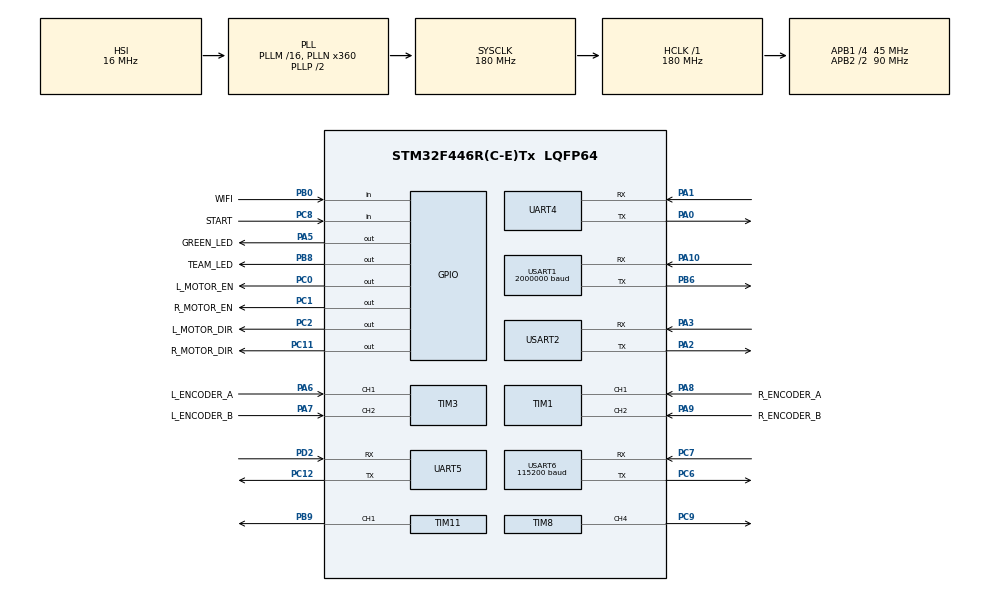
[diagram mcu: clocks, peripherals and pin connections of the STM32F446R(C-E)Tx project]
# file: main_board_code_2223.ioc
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Dma.Request0=UART4_RX
Dma.UART4_RX.0.Direction=DMA_PERIPH_TO_MEMORY
Dma.UART4_RX.0.FIFOMode=DMA_FIFOMODE_DISABLE
Dma.UART4_RX.0.Instance=DMA1_Stream2
Dma.UART4_RX.0.MemDataAlignment=DMA_MDATAALIGN_BYTE
Dma.UART4_RX.0.MemInc=DMA_MINC_ENABLE
Dma.UART4_RX.0.Mode=DMA_NORMAL
Dma.UART4_RX.0.PeriphDataAlignment=DMA_PDATAALIGN_BYTE
Dma.UART4_RX.0.PeriphInc=DMA_PINC_DISABLE
Dma.UART4_RX.0.Priority=DMA_PRIORITY_LOW
Mcu.Family=STM32F4
Mcu.Name=STM32F446R(C-E)Tx
Mcu.Package=LQFP64
NVIC.DMA1_Stream2_IRQn=true\:0\:0\:false\:false\:true\:false\:true\:true
NVIC.PriorityGroup=NVIC_PRIORITYGROUP_4
NVIC.TIM2_IRQn=true\:0\:0\:false\:false\:true\:true\:true\:true
NVIC.TIM4_IRQn=true\:0\:0\:false\:false\:true\:true\:true\:true
NVIC.TIM5_IRQn=true\:0\:0\:false\:false\:true\:true\:true\:true
NVIC.TIM6_DAC_IRQn=true\:0\:0\:false\:false\:true\:true\:true\:true
NVIC.TIM7_IRQn=true\:2\:0\:true\:false\:true\:true\:true\:true
NVIC.UART4_IRQn=true\:0\:0\:false\:false\:true\:true\:true\:true
NVIC.UART5_IRQn=true\:0\:0\:false\:false\:true\:true\:true\:true
NVIC.USART1_IRQn=true\:0\:0\:false\:false\:true\:true\:true\:true
NVIC.USART6_IRQn=true\:0\:0\:false\:false\:true\:true\:true\:true
PA0-WKUP.Mode=Asynchronous
PA0-WKUP.Signal=UART4_TX
PA1.Mode=Asynchronous
PA1.Signal=UART4_RX
PA10.Mode=Asynchronous
PA10.Signal=USART1_RX
PA2.Mode=Asynchronous
PA2.Signal=USART2_TX
PA3.Mode=Asynchronous
PA3.Signal=USART2_RX
PA5.GPIO_Label=GREEN_LED
PA5.Signal=GPIO_Output
PA6.GPIO_Label=L_ENCODER_A
PA6.Signal=S_TIM3_CH1
PA7.GPIO_Label=L_ENCODER_B
PA7.Signal=S_TIM3_CH2
PA8.GPIO_Label=R_ENCODER_A
PA8.Signal=S_TIM1_CH1
PA9.GPIO_Label=R_ENCODER_B
PA9.Signal=S_TIM1_CH2
PB0.GPIO_Label=WIFI
PB0.Signal=GPIO_Input
PB6.Mode=Asynchronous
PB6.Signal=USART1_TX
PB8.GPIO_Label=TEAM_LED
PB8.Signal=GPIO_Output
PB9.Signal=S_TIM11_CH1
PC0.GPIO_Label=L_MOTOR_EN
PC0.Signal=GPIO_Output
PC1.GPIO_Label=R_MOTOR_EN
PC1.Signal=GPIO_Output
PC11.GPIO_Label=R_MOTOR_DIR
PC11.Signal=GPIO_Output
PC12.Mode=Asynchronous
PC12.Signal=UART5_TX
PC2.GPIO_Label=L_MOTOR_DIR
PC2.Signal=GPIO_Output
PC6.Mode=Asynchronous
PC6.Signal=USART6_TX
PC7.Mode=Asynchronous
PC7.Signal=USART6_RX
PC8.GPIO_Label=START
PC8.GPIO_PuPd=GPIO_PULLDOWN
PC8.Signal=GPIO_Input
PC9.Signal=S_TIM8_CH4
PD2.Mode=Asynchronous
PD2.Signal=UART5_RX
ProjectManager.HeapSize=0x200
ProjectManager.StackSize=0x400
ProjectManager.TargetToolchain=STM32CubeIDE
RCC.48MHZClocksFreq_Value=84000000
RCC.AHBFreq_Value=180000000
RCC.APB1CLKDivider=RCC_HCLK_DIV4
RCC.APB1Freq_Value=45000000
RCC.APB1TimFreq_Value=90000000
RCC.APB2CLKDivider=RCC_HCLK_DIV2
RCC.APB2Freq_Value=90000000
RCC.APB2TimFreq_Value=180000000
RCC.CortexFreq_Value=180000000
RCC.FLatency-AdvancedSettings=FLASH_LATENCY_5
RCC.HCLKFreq_Value=180000000
RCC.HSE_VALUE=8000000
RCC.HSI_VALUE=16000000
RCC.PLLN=360
RCC.SYSCLKFreq_VALUE=180000000
RCC.SYSCLKSource=RCC_SYSCLKSOURCE_PLLCLK
RCC.USBFreq_Value=180000000
RCC.VCOOutputFreq_Value=360000000
SH.S_TIM11_CH1.0=TIM11_CH1,PWM Generation1 CH1
SH.S_TIM1_CH1.0=TIM1_CH1,Encoder_Interface
SH.S_TIM1_CH2.0=TIM1_CH2,Encoder_Interface
SH.S_TIM3_CH1.0=TIM3_CH1,Encoder_Interface
SH.S_TIM3_CH2.0=TIM3_CH2,Encoder_Interface
SH.S_TIM8_CH4.0=TIM8_CH4,PWM Generation4 CH4
TIM1.CounterMode=TIM_COUNTERMODE_UP
TIM1.EncoderMode=TIM_ENCODERMODE_TI12
TIM1.IC1Filter=10
TIM11.Channel=TIM_CHANNEL_1
TIM11.Period=1000
TIM11.Prescaler=179
TIM2.Period=999
TIM2.Prescaler=2686
TIM3.AutoReloadPreload=TIM_AUTORELOAD_PRELOAD_ENABLE
TIM3.CounterMode=TIM_COUNTERMODE_UP
TIM3.EncoderMode=TIM_ENCODERMODE_TI12
TIM4.Period=90
TIM4.Prescaler=1
TIM5.Period=90000
TIM5.Prescaler=9
TIM6.Period=99
TIM6.Prescaler=8999
TIM7.AutoReloadPreload=TIM_AUTORELOAD_PRELOAD_DISABLE
TIM7.Period=9999
TIM7.Prescaler=8999
TIM8.AutoReloadPreload=TIM_AUTORELOAD_PRELOAD_DISABLE
TIM8.Channel-PWM\ Generation4\ CH4=TIM_CHANNEL_4
TIM8.Period=1000
TIM8.Prescaler=179
TIM8.Pulse-PWM\ Generation4\ CH4=500
UART4.VirtualMode=Asynchronous
UART5.VirtualMode=Asynchronous
USART1.BaudRate=2000000
USART1.VirtualMode=VM_ASYNC
USART2.VirtualMode=VM_ASYNC
USART6.BaudRate=115200
USART6.Parity=PARITY_NONE
USART6.VirtualMode=VM_ASYNC
VP_TIM11_VS_ClockSourceINT.Mode=Enable_Timer
VP_TIM2_VS_ClockSourceINT.Mode=Internal
VP_TIM4_VS_ClockSourceINT.Mode=Internal
VP_TIM5_VS_ClockSourceINT.Mode=Internal
VP_TIM6_VS_ClockSourceINT.Mode=Enable_Timer
VP_TIM7_VS_ClockSourceINT.Mode=Enable_Timer
VP_TIM8_VS_ClockSourceINT.Mode=Internal
board=NUCLEO-F446RE

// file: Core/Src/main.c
/* USER CODE BEGIN Header */
/**
  ******************************************************************************
  * @file           : main.c
  * @brief          : Main program body
  ******************************************************************************
  * @attention
  *
  * <h2><center>&copy; Copyright (c) 2021 STMicroelectronics.
  * All rights reserved.</center></h2>
  *
  * This software component is licensed by ST under BSD 3-Clause license,
  * the "License"; You may not use this file except in compliance with the
  * License. You may obtain a copy of the License at:
  *                        opensource.org/licenses/BSD-3-Clause
  *
  ******************************************************************************
  */
/* USER CODE END Header */
#include "main.h"
#include "dma.h"
#include "tim.h"
#include "usart.h"
#include "gpio.h"

/* USER CODE BEGIN Includes */
#include "config.h"
#include "propulsion.h"
#include "odometry.h"
#include "robot.h"
#include "bezier.h"
#include "strategy.h"
#include "serial.h"
#include "lidar.h"
#include "avoidance.h"
#include "symetry.h"
#include "control.h"
#include <stdio.h>
#include <math.h>

extern Robot robot;
/* USER CODE END Includes */

void SystemClock_Config(void);

/* USER CODE BEGIN 0 */

int _write(int file, char *ptr, int len) {
	int DataIdx;

	for (DataIdx = 0; DataIdx < len; DataIdx++) {
		HAL_UART_Transmit(&huart2, (uint8_t *) ptr++, 1, HAL_MAX_DELAY);
	}
	return len;
}

/* USER CODE END 0 */

int main(void)
{

  /* MCU Configuration--------------------------------------------------------*/

  /* Reset of all peripherals, Initializes the Flash interface and the Systick. */
  HAL_Init();

  /* Configure the system clock */
  SystemClock_Config();

  /* Initialize all configured peripherals */
  MX_GPIO_Init();
  MX_DMA_Init();
  MX_TIM1_Init();
  MX_TIM8_Init();
  MX_TIM11_Init();
  MX_TIM3_Init();
  MX_TIM7_Init();
  MX_TIM2_Init();
  MX_TIM6_Init();
  MX_TIM4_Init();
  MX_USART2_UART_Init();
  MX_TIM5_Init();
  MX_USART6_UART_Init();
  MX_UART4_Init();
  MX_UART5_Init();
  MX_USART1_UART_Init();
  /* USER CODE BEGIN 2 */
  HAL_TIM_Base_Start(&htim1);
  HAL_TIM_Base_Start(&htim3);
  HAL_TIM_Base_Start_IT(&htim5);

  HAL_UART_Receive_IT(&huart6, pData, 1);
  printf("Initializing propulsion system...");
  propulsion_initialize();
  propulsion_disableMotors();
  avoidance_initialize();
  HAL_Delay(200);
  printf(" Done.\r\n");

  //HAL_GPIO_TogglePin(GREEN_LED_GPIO_Port, GREEN_LED_Pin);
  //printf("Initializing strategy...");
  Strategy* strategy;
  int curveIndex = 0;
  int onSiteActionIndex = 0;
  int onMoveActionIndex = 0;

  robot.waitingForOnSiteAction = false;
  robot.waitingForOnMoveAction = false;
  robot.team = YELLOW;
  float t = 0;

  HAL_Delay(200);
  printf(" Done.\r\n");

  //HAL_GPIO_TogglePin(GREEN_LED_GPIO_Port, GREEN_LED_Pin);
  printf("Initializing lidar...");
  lidar_initialize();
  HAL_Delay(200);
  printf(" Done.\r\n");

  bool waitingForMatchStart = true;

  printf("Waiting for start...\r\n");
  pData[0] = 'o';
  int a = 0;
  while ((waitingForMatchStart == true)) {
  	  waitingForMatchStart = HAL_GPIO_ReadPin(START_GPIO_Port, START_Pin);
  	  if(wifiDataRX==0x84){
  		  waitingForMatchStart=0;
  		  strategy = strategy_initialize(7);
  		  //WifiUartTXActivation();
  	  }
  	  else if((pData[0] >= '0' && pData[0] <= '9')  && a == 0)
  	  {
  		  a = 1;
  	  	  switch(pData[0])
  	      	{
  	  	  	case '0':
  	  	  		printf("Initializing strategy...0");
  	  	  		strategy = strategy_initialize(0);
  	       	    break;
  	      	case '1':
  	      		printf("Initializing strategy...1");
  	      		strategy = strategy_initialize(1);
  	      		switchTeam(strategy);
  	            break;
  	      	case '2':
  	      		printf("Initializing strategy...2");
  	      		strategy = strategy_initialize(2);
  	      		break;
  	        case '3':
  	        	printf("Initializing strategy...3");
  	        	strategy = strategy_initialize(3);
  	        	switchTeam(strategy);
  	        	break;
  	        case '4':
  	        	printf("Initializing strategy...4");
  	        	strategy = strategy_initialize(4);
  	        	switchTeam(strategy);
  	        	break;
  	        case '5':
  	        	printf("Initializing strategy...5");
  	        	strategy = strategy_initialize(5);
  	            break;
  	        default:
  	            break;
  	      	}
  	  }
  }
  propulsion_enableMotors();

  printf("Initializing odometry...");
  Vector2 start = strategy->path[0]->p1;
  Vector2 startTangent = strategy->path[0]->p2;
  float startAngle = vector2_angle(vector2_diff(startTangent, start));
  odometry_setPosition(start.x, start.y);
  odometry_setAngle(startAngle);
  robot.measuredSpeed = 0;
  odometry_startKalman();
  HAL_Delay(200);
  printf(" Done.\r\n");

  printf("Go!\r\n");

  //odometry_setPosition(0, 0);
  //odometry_setAngle(0);

  HAL_UART_Receive_DMA(&huart4, &lidarBuf[0], 3);//HAL_UART_Receive_IT(&huart4, &lidarData, 1);
  HAL_UART_Receive_IT(&huart6, &armData, 1);
  /* USER CODE END 2 */

  /* Infinite loop */
  /* USER CODE BEGIN WHILE */

  /*while (1) {
	  for (int i=0; i<16; i++) {
		  printf("%d ", i);
		  printf("(%d) ", lidar_timeSinceData[i]);
	  }
	  printf("\r\n");

	  if (!lidar_frontIsClear()) {
		  printf("Front stop!\r\n");
	  }
	  if (!lidar_backIsClear()) {
		  printf("Back stop!\r\n");
	  }

	  HAL_Delay(100);
  }*/

  while (onSiteActionIndex < strategy->onSiteActionsLengths[0]) {
	  uint8_t action = strategy->onSiteActions[0][onSiteActionIndex];
	  serial_send(&action, 1, 6);
	  robot.waitingForOnSiteAction = true;

	  printf("Waiting for 0xFF...\r\n");
	  printf("%d\r\n", robot.waitingForOnSiteAction);
	  while (robot.waitingForOnSiteAction) {}
	  printf("%d\r\n", robot.waitingForOnSiteAction);
	  onSiteActionIndex++;
  }

  printf("About to move...\r\n");

  while (1) {
	  if (onMoveActionIndex < strategy->onMoveActionsLengths[curveIndex]
              && !robot.waitingForOnMoveAction
			  && !robot.waitingForOnSiteAction) {
		  uint8_t action = strategy->onMoveActions[curveIndex][onMoveActionIndex];
		  serial_send(&action, 1, 6);
		  robot.waitingForOnMoveAction = true;
	  }

	  avoidance_update(t, strategy->directions[curveIndex]);

	  if (avoidanceState == PATH_CLEAR && curveIndex < strategy->length) {
		  t = propulsion_followBezier(
				  strategy->path[curveIndex],
				  strategy->directions[curveIndex],
				  strategy->speeds[curveIndex],
				  strategy->speeds[curveIndex+1],
				  false
		  );
	  } else if (avoidanceState == PATH_OBSTRUCTED) {
		  propulsion_setSpeeds(0, 0, 0);
	  } else if (avoidanceState == BACKTRACKING) {
		  t = propulsion_followBezier(
				  strategy->path[curveIndex],
				  strategy->directions[curveIndex],
				  strategy->speeds[curveIndex],
				  strategy->speeds[curveIndex+1],
				  true
		  );
	  }

	  if (t > 0.99 && !robot.waitingForOnMoveAction) {
	      curveIndex = (curveIndex + 1);// % strategy->length;
	      onSiteActionIndex = 0;
	      while (onSiteActionIndex < strategy->onSiteActionsLengths[curveIndex]) {
	    	  uint8_t action = strategy->onSiteActions[curveIndex][onSiteActionIndex];
	    	  serial_send(&action, 1, 6);
	    	  robot.waitingForOnSiteAction = true;

	    	  while (robot.waitingForOnSiteAction) {
	    		  propulsion_setSpeeds(0, 0, 0);
	    	  }
	    	  onSiteActionIndex++;
	      }
	      onMoveActionIndex = 0;
	  }

	  if (curveIndex == strategy->length) {
		  break;
	  }

    /* USER CODE END WHILE */

    /* USER CODE BEGIN 3 */
  }

  propulsion_disableMotors();
  printf("Finished.\r\n");

  while (1) {

  }
  /* USER CODE END 3 */
}

void SystemClock_Config(void)
{
  RCC_OscInitTypeDef RCC_OscInitStruct = {0};
  RCC_ClkInitTypeDef RCC_ClkInitStruct = {0};

  /** Configure the main internal regulator output voltage
  */
  __HAL_RCC_PWR_CLK_ENABLE();
  __HAL_PWR_VOLTAGESCALING_CONFIG(PWR_REGULATOR_VOLTAGE_SCALE1);

  /** Initializes the RCC Oscillators according to the specified parameters
  * in the RCC_OscInitTypeDef structure.
  */
  RCC_OscInitStruct.OscillatorType = RCC_OSCILLATORTYPE_HSI;
  RCC_OscInitStruct.HSIState = RCC_HSI_ON;
  RCC_OscInitStruct.HSICalibrationValue = RCC_HSICALIBRATION_DEFAULT;
  RCC_OscInitStruct.PLL.PLLState = RCC_PLL_ON;
  RCC_OscInitStruct.PLL.PLLSource = RCC_PLLSOURCE_HSI;
  RCC_OscInitStruct.PLL.PLLM = 16;
  RCC_OscInitStruct.PLL.PLLN = 360;
  RCC_OscInitStruct.PLL.PLLP = RCC_PLLP_DIV2;
  RCC_OscInitStruct.PLL.PLLQ = 2;
  RCC_OscInitStruct.PLL.PLLR = 2;
  if (HAL_RCC_OscConfig(&RCC_OscInitStruct) != HAL_OK)
  {
    Error_Handler();
  }

  /** Activate the Over-Drive mode
  */
  if (HAL_PWREx_EnableOverDrive() != HAL_OK)
  {
    Error_Handler();
  }

  /** Initializes the CPU, AHB and APB buses clocks
  */
  RCC_ClkInitStruct.ClockType = RCC_CLOCKTYPE_HCLK|RCC_CLOCKTYPE_SYSCLK
                              |RCC_CLOCKTYPE_PCLK1|RCC_CLOCKTYPE_PCLK2;
  RCC_ClkInitStruct.SYSCLKSource = RCC_SYSCLKSOURCE_PLLCLK;
  RCC_ClkInitStruct.AHBCLKDivider = RCC_SYSCLK_DIV1;
  RCC_ClkInitStruct.APB1CLKDivider = RCC_HCLK_DIV4;
  RCC_ClkInitStruct.APB2CLKDivider = RCC_HCLK_DIV2;

  if (HAL_RCC_ClockConfig(&RCC_ClkInitStruct, FLASH_LATENCY_5) != HAL_OK)
  {
    Error_Handler();
  }
}

void Error_Handler(void)
{
  /* USER CODE BEGIN Error_Handler_Debug */
  /* User can add his own implementation to report the HAL error return state */
  __disable_irq();
  printf("A runtime error occurred.\r\n");
  while (1) {
  }
  /* USER CODE END Error_Handler_Debug */
}
